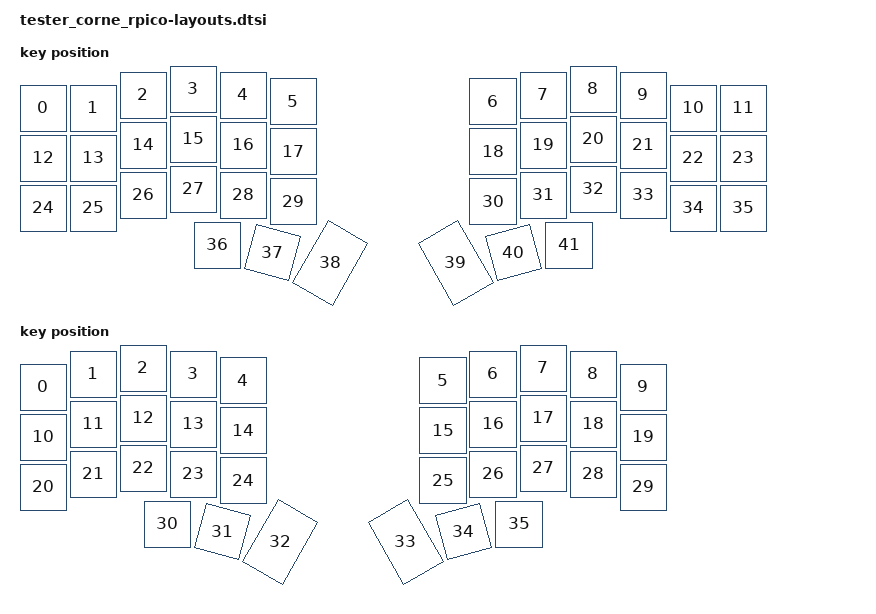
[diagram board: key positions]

/*
 * Copyright (c) 2025 The ZMK Contributors
 *
 * SPDX-License-Identifier: MIT
 */

#include <physical_layouts.dtsi>

/ {
    physical_layout0: physical_layout_0 {
        compatible = "zmk,physical-layout";
        display-name = "default_transform";

        kscan = <&kscan0>;
        transform = <&matrix_transform0>;

        keys  //                     w   h    x    y     rot    rx    ry
            = <&key_physical_attrs 100 100    0   38       0     0     0>
            , <&key_physical_attrs 100 100  100   38       0     0     0>
            , <&key_physical_attrs 100 100  200   12       0     0     0>
            , <&key_physical_attrs 100 100  300    0       0     0     0>
            , <&key_physical_attrs 100 100  400   12       0     0     0>
            , <&key_physical_attrs 100 100  500   25       0     0     0>
            , <&key_physical_attrs 100 100  900   25       0     0     0>
            , <&key_physical_attrs 100 100 1000   12       0     0     0>
            , <&key_physical_attrs 100 100 1100    0       0     0     0>
            , <&key_physical_attrs 100 100 1200   12       0     0     0>
            , <&key_physical_attrs 100 100 1300   38       0     0     0>
            , <&key_physical_attrs 100 100 1400   38       0     0     0>
            , <&key_physical_attrs 100 100    0  138       0     0     0>
            , <&key_physical_attrs 100 100  100  138       0     0     0>
            , <&key_physical_attrs 100 100  200  112       0     0     0>
            , <&key_physical_attrs 100 100  300  100       0     0     0>
            , <&key_physical_attrs 100 100  400  112       0     0     0>
            , <&key_physical_attrs 100 100  500  125       0     0     0>
            , <&key_physical_attrs 100 100  900  125       0     0     0>
            , <&key_physical_attrs 100 100 1000  112       0     0     0>
            , <&key_physical_attrs 100 100 1100  100       0     0     0>
            , <&key_physical_attrs 100 100 1200  112       0     0     0>
            , <&key_physical_attrs 100 100 1300  138       0     0     0>
            , <&key_physical_attrs 100 100 1400  138       0     0     0>
            , <&key_physical_attrs 100 100    0  238       0     0     0>
            , <&key_physical_attrs 100 100  100  238       0     0     0>
            , <&key_physical_attrs 100 100  200  212       0     0     0>
            , <&key_physical_attrs 100 100  300  200       0     0     0>
            , <&key_physical_attrs 100 100  400  212       0     0     0>
            , <&key_physical_attrs 100 100  500  225       0     0     0>
            , <&key_physical_attrs 100 100  900  225       0     0     0>
            , <&key_physical_attrs 100 100 1000  212       0     0     0>
            , <&key_physical_attrs 100 100 1100  200       0     0     0>
            , <&key_physical_attrs 100 100 1200  212       0     0     0>
            , <&key_physical_attrs 100 100 1300  238       0     0     0>
            , <&key_physical_attrs 100 100 1400  238       0     0     0>
            , <&key_physical_attrs 100 100  348  312       0     0     0>
            , <&key_physical_attrs 100 100  348  312    1500   398   790>
            , <&key_physical_attrs 100 150  348  262    3000   398   790>
            , <&key_physical_attrs 100 150 1052  262 (-3000)  1102   790>
            , <&key_physical_attrs 100 100 1052  312 (-1500)  1102   790>
            , <&key_physical_attrs 100 100 1052  312       0     0     0>
            ;
    };

    physical_layout1: physical_layout_1 {
        compatible = "zmk,physical-layout";
        display-name = "five_column_transform";

        kscan = <&kscan1>;
        transform = <&matrix_transform1>;

        keys  //                     w   h    x    y     rot    rx    ry
            = <&key_physical_attrs 100 100    0   38       0     0     0>
            , <&key_physical_attrs 100 100  100   12       0     0     0>
            , <&key_physical_attrs 100 100  200    0       0     0     0>
            , <&key_physical_attrs 100 100  300   12       0     0     0>
            , <&key_physical_attrs 100 100  400   25       0     0     0>
            , <&key_physical_attrs 100 100  800   25       0     0     0>
            , <&key_physical_attrs 100 100  900   12       0     0     0>
            , <&key_physical_attrs 100 100 1000    0       0     0     0>
            , <&key_physical_attrs 100 100 1100   12       0     0     0>
            , <&key_physical_attrs 100 100 1200   38       0     0     0>
            , <&key_physical_attrs 100 100    0  138       0     0     0>
            , <&key_physical_attrs 100 100  100  112       0     0     0>
            , <&key_physical_attrs 100 100  200  100       0     0     0>
            , <&key_physical_attrs 100 100  300  112       0     0     0>
            , <&key_physical_attrs 100 100  400  125       0     0     0>
            , <&key_physical_attrs 100 100  800  125       0     0     0>
            , <&key_physical_attrs 100 100  900  112       0     0     0>
            , <&key_physical_attrs 100 100 1000  100       0     0     0>
            , <&key_physical_attrs 100 100 1100  112       0     0     0>
            , <&key_physical_attrs 100 100 1200  138       0     0     0>
            , <&key_physical_attrs 100 100    0  238       0     0     0>
            , <&key_physical_attrs 100 100  100  212       0     0     0>
            , <&key_physical_attrs 100 100  200  200       0     0     0>
            , <&key_physical_attrs 100 100  300  212       0     0     0>
            , <&key_physical_attrs 100 100  400  225       0     0     0>
            , <&key_physical_attrs 100 100  800  225       0     0     0>
            , <&key_physical_attrs 100 100  900  212       0     0     0>
            , <&key_physical_attrs 100 100 1000  200       0     0     0>
            , <&key_physical_attrs 100 100 1100  212       0     0     0>
            , <&key_physical_attrs 100 100 1200  238       0     0     0>
            , <&key_physical_attrs 100 100  248  312       0     0     0>
            , <&key_physical_attrs 100 100  248  312    1500   298   790>
            , <&key_physical_attrs 100 150  248  262    3000   298   790>
            , <&key_physical_attrs 100 150  952  262 (-3000)  1002   790>
            , <&key_physical_attrs 100 100  952  312 (-1500)  1002   790>
            , <&key_physical_attrs 100 100  952  312       0     0     0>
            ;
    };
};
